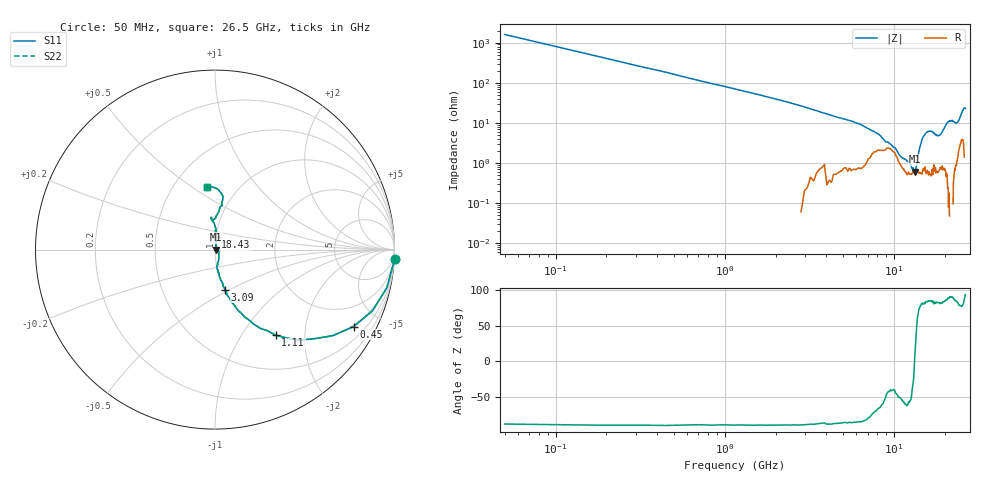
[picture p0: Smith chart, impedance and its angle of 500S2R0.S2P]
!  American Technical Ceramics  Date:  3/6/98
!  One Norden Lane
!  Huntington Station,  NY.  11746-2102
!  Tel:  (516) 547-5700  Fax:  (516) 547-5748
!  Part Number  500S2R0
!  Description: Broadband Microwave capacitor
!  Application:
# GHZ S DB R 50
! Freq  |S11|  S11 Ph  |S21|  S21 Ph  |S12|  S12 Ph  |S22|  S22 Ph
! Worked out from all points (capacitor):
!   201 points, 50 MHz to 26.5 GHz, reference 50 ohm
!   read as one part in series: C = 1.97 pF near 180 MHz
!   lowest |Z| = 604 mohm at 13.28 GHz (marker M1)
!   series resonance near 13.26 GHz, so ESL is about 73 pH
!   S11 on the Smith chart (normalised r, x): 50 MHz: -2, -38; 450 MHz: 0.93, -3.65; 1.11 GHz: 0.99, -1.43; 3.09 GHz: 1.00, -0.47; 18.43 GHz: 1.00, +0.14; 26.5 GHz: 0.72, +0.57
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0.05  0.02 -3.0  -24.05 85.6  -24.05 85.6  0.02 -3.0
0.18  -0.17 -12.6  -13.20 77.7  -13.20 77.7  -0.17 -12.6
0.45  -1.07 -29.0  -6.29 61.6  -6.29 61.6  -1.07 -29.0
1.11  -4.66 -54.6  -1.84 35.7  -1.84 35.7  -4.66 -54.6
1.77  -7.73 -66.3  -0.76 23.9  -0.76 23.9  -7.73 -66.3
3.09  -12.81 -76.3  -0.25 12.9  -0.25 12.9  -12.81 -76.3
4.55  -16.40 -80.3  -0.13 7.2  -0.13 7.2  -16.40 -80.3
7.19  -21.71 -80.4  -0.17 2.9  -0.17 2.9  -21.71 -80.4
8.91  -30.62 -44.6  -0.18 1.8  -0.18 1.8  -30.62 -44.6
10.1  -35.65 -13.3  -0.18 1.6  -0.18 1.6  -35.65 -13.3
10.76  -43.99 -13.1  -0.12 1.3  -0.12 1.3  -43.99 -13.1
11.16  -45.62 -34.5  -0.10 1.1  -0.10 1.1  -45.62 -34.5
12.61  -39.43 -63.1  -0.05 0.3  -0.05 0.3  -39.43 -63.1
13.28  -45.80 5.5  -0.06 -0.0  -0.06 -0.0  -45.80 5.5
14.07  -30.66 80.9  -0.06 -0.4  -0.06 -0.4  -30.66 80.9
14.86  -23.32 85.1  -0.10 -0.9  -0.10 -0.9  -23.32 85.1
16.18  -19.50 88.3  -0.14 -0.9  -0.14 -0.9  -19.50 88.3
17.77  -21.86 87.2  -0.10 -0.8  -0.10 -0.8  -21.86 87.2
18.43  -23.05 87.2  -0.11 -1.3  -0.11 -1.3  -23.05 87.2
22.14  -14.87 96.2  -0.40 -2.6  -0.40 -2.6  -14.87 96.2
23.86  -15.72 93.0  -0.48 -1.8  -0.48 -1.8  -15.72 93.0
26.5  -9.04 97.7  -1.05 -5.0  -1.05 -5.0  -9.04 97.7
